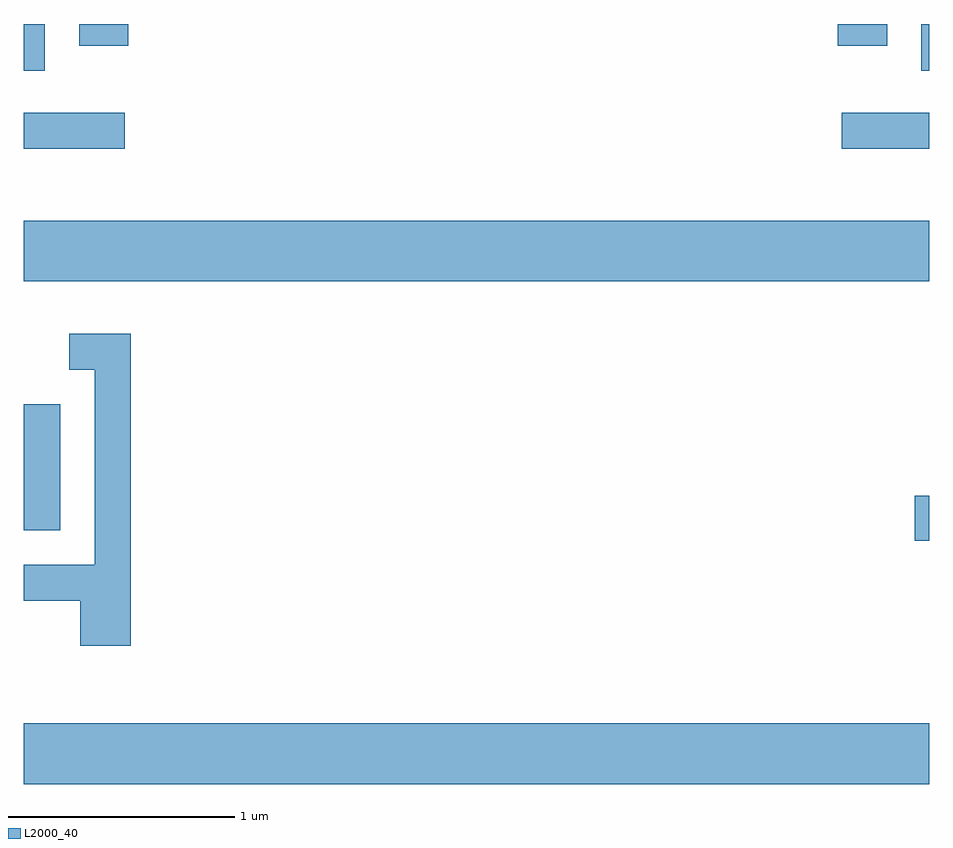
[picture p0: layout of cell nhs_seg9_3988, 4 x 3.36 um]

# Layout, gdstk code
import gdstk
lib = gdstk.Library(unit=1e-6, precision=1e-09)
def R(c, l, rs):  # rectangles x0, y0, x1, y1
    for r in rs: c.add(gdstk.rectangle(r[:2], r[2:], *l))
def P(c, l, *ps):  # polygons
    for p in ps: c.add(gdstk.Polygon(p, *l))
L2000_40 = (2000, 40)

nhs_seg9_3988 = lib.new_cell('nhs_seg9_3988')
R(nhs_seg9_3988, L2000_40, [(301.611,2065.076,305.611,2065.344), (305.546,2066.151,305.611,2066.349), (301.611,2066.196,301.774,2066.754), (301.611,2067.296,305.611,2067.564), (301.611,2067.881,302.058,2068.039), (305.223,2067.881,305.611,2068.039), (301.611,2068.226,301.704,2068.432), (305.576,2068.226,305.611,2068.432), (301.856,2068.336,302.074,2068.432), (305.206,2068.336,305.424,2068.432)])
P(nhs_seg9_3988, L2000_40, [(302.084,2067.064),(301.813,2067.064),(301.813,2066.906),(301.926,2066.906),(301.926,2066.044),(301.611,2066.044),(301.611,2065.886),(301.861,2065.886),(301.861,2065.686),(302.084,2065.686)])

lib.write_gds('nhs_seg9_3988.gds')
